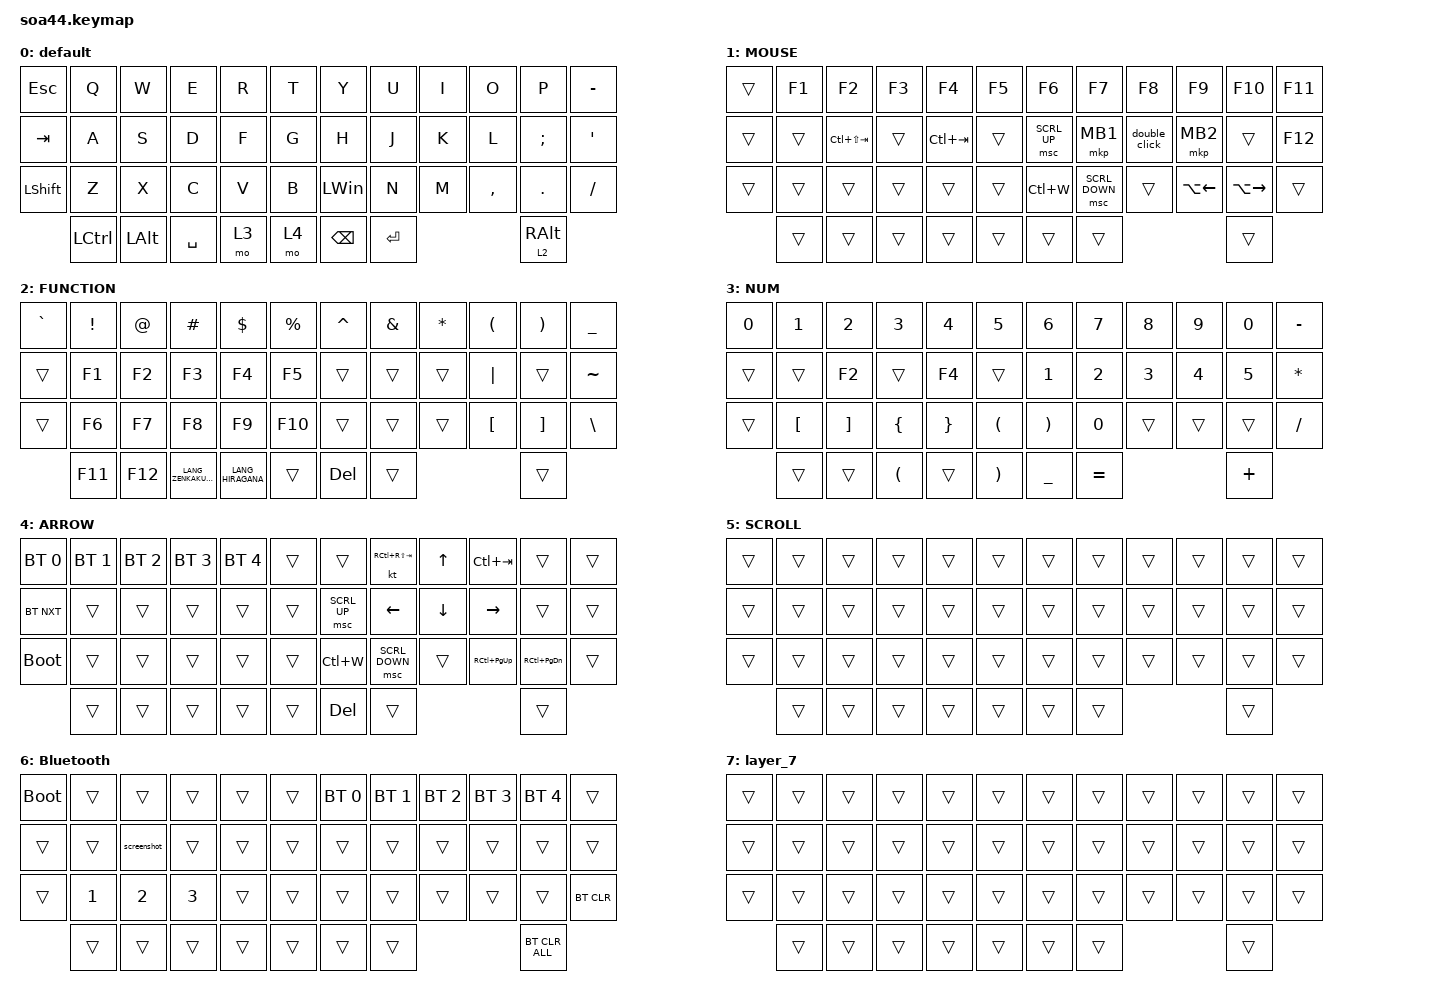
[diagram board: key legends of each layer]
#include <behaviors.dtsi>
#include <dt-bindings/zmk/bt.h>
#include <dt-bindings/zmk/keys.h>
#include <dt-bindings/zmk/pointing.h>

&mt {
    flavor = "balanced";
    quick-tap-ms = <0>;
};

/ {
    combos {
        compatible = "zmk,combos";

        tab {
            bindings = <&kp TAB>;
            key-positions = <11 12>;
        };

        shift_tab {
            bindings = <&kp LS(TAB)>;
            key-positions = <12 13>;
        };

        muhennkann {
            bindings = <&to_layer_0 INT_MUHENKAN>;
            key-positions = <11 10>;
        };

        double_quotation {
            bindings = <&kp DOUBLE_QUOTES>;
            key-positions = <20 21>;
        };

        eq {
            bindings = <&kp EQUAL>;
            key-positions = <24 25>;
        };

        L_parentheses {
            bindings = <&kp LEFT_PARENTHESIS>;
            key-positions = <15 16>;
        };

        R_parentheses {
            bindings = <&kp RIGHT_PARENTHESIS>;
            key-positions = <19 19 20>;
        };

        layer5 {
            bindings = <&mo 5>;
            key-positions = <40 39>;
        };
    };

    macros {
        to_layer_0: to_layer_0 {
            compatible = "zmk,behavior-macro-one-param";
            #binding-cells = <1>;
            bindings = <&to 0 &macro_param_1to1 &kp MACRO_PLACEHOLDER>;
            label = "TO_LAYER_0";
        };

        double_0: double_0 {
            compatible = "zmk,behavior-macro";
            #binding-cells = <0>;
            bindings = <&kp KP_NUMBER_0 &kp KP_NUMBER_0>;
            label = "DOUBLE_0";
        };

        screenshot: screenshot {
            compatible = "zmk,behavior-macro";
            #binding-cells = <0>;
            bindings = <&kp LS(LG(S))>;
            label = "SCREENSHOT";
        };

        double_click: double_click {
            compatible = "zmk,behavior-macro";
            #binding-cells = <0>;
            bindings = <&mkp MB1 &mkp MB1>;
            label = "DOUBLE_CLICK";
        };
    };

    behaviors {
        lt_to_layer_0: lt_to_layer_0 {
            compatible = "zmk,behavior-hold-tap";
            label = "LAYER_TAP_TO_0";
            bindings = <&mo>, <&to_layer_0>;

            #binding-cells = <2>;
            tapping-term-ms = <200>;
        };

        ALTandKANA: ALTandKANA {
            compatible = "zmk,behavior-tap-dance";
            label = "ALTANDKANA";
            #binding-cells = <0>;
            bindings = <&kp RIGHT_ALT>, <&kp LANG_HIRAGANA>;
        };
    };

    keymap {
        compatible = "zmk,keymap";

        default {
            bindings = <
&kp ESCAPE      &kp Q             &kp W         &kp E      &kp R  &kp T  &kp Y          &kp U      &kp I  &kp O      &kp P            &kp MINUS
&kp TAB         &kp A             &kp S         &kp D      &kp F  &kp G  &kp H          &kp J      &kp K  &kp L      &kp SEMICOLON    &kp SQT
&kp LEFT_SHIFT  &kp Z             &kp X         &kp C      &kp V  &kp B  &kp LEFT_WIN   &kp N      &kp M  &kp COMMA  &kp DOT          &kp SLASH
                &kp LEFT_CONTROL  &kp LEFT_ALT  &kp SPACE  &mo 3  &mo 4  &kp BACKSPACE  &kp ENTER                    &lt 2 RIGHT_ALT
            >;
        };

        MOUSE {
            bindings = <
&trans  &kp F1  &kp F2           &kp F3  &kp F4       &kp F5  &kp F6        &kp F7          &kp F8         &kp F9              &kp F10              &kp F11
&trans  &trans  &kp LC(LS(TAB))  &trans  &kp LC(TAB)  &trans  &msc SCRL_UP  &mkp MB1        &double_click  &mkp MB2            &trans               &kp F12
&trans  &trans  &trans           &trans  &trans       &trans  &kp LC(W)     &msc SCRL_DOWN  &trans         &kp LA(LEFT_ARROW)  &kp LA(RIGHT_ARROW)  &trans
        &trans  &trans           &trans  &trans       &trans  &trans        &trans                                             &trans
            >;
        };

        FUNCTION {
            bindings = <
&kp GRAVE  &kp EXCLAMATION  &kp AT_SIGN  &kp HASH                 &kp DOLLAR         &kp PERCENT  &kp CARET   &kp AMPERSAND  &kp ASTERISK  &kp LEFT_PARENTHESIS  &kp RIGHT_PARENTHESIS  &kp UNDERSCORE
&trans     &kp F1           &kp F2       &kp F3                   &kp F4             &kp F5       &trans      &trans         &trans        &kp PIPE              &trans                 &kp TILDE
&trans     &kp F6           &kp F7       &kp F8                   &kp F9             &kp F10      &trans      &trans         &trans        &kp LEFT_BRACKET      &kp RIGHT_BRACKET      &kp BACKSLASH
           &kp F11          &kp F12      &kp LANG_ZENKAKUHANKAKU  &kp LANG_HIRAGANA  &trans       &kp DELETE  &trans                                             &trans
            >;
        };

        NUM {
            bindings = <
&kp NUMBER_0  &kp NUMBER_1      &kp NUMBER_2       &kp NUMBER_3          &kp NUMBER_4     &kp NUMBER_5           &kp NUMBER_6           &kp N7        &kp NUMBER_8  &kp NUMBER_9  &kp NUMBER_0  &kp MINUS
&trans        &trans            &kp F2             &trans                &kp F4           &trans                 &kp NUMBER_1           &kp NUMBER_2  &kp NUMBER_3  &kp NUMBER_4  &kp NUMBER_5  &kp ASTERISK
&trans        &kp LEFT_BRACKET  &kp RIGHT_BRACKET  &kp LEFT_BRACE        &kp RIGHT_BRACE  &kp LEFT_PARENTHESIS   &kp RIGHT_PARENTHESIS  &kp NUMBER_0  &trans        &trans        &trans        &kp SLASH
              &trans            &trans             &kp LEFT_PARENTHESIS  &trans           &kp RIGHT_PARENTHESIS  &kp UNDER              &kp EQUAL                                 &kp PLUS
            >;
        };

        ARROW {
            bindings = <
&bt BT_SEL 0  &bt BT_SEL 1  &bt BT_SEL 2  &bt BT_SEL 3  &bt BT_SEL 4  &trans  &trans        &kt RC(RS(TAB))  &kp UP_ARROW    &kp LC(TAB)      &trans             &trans
&bt BT_NXT    &trans        &trans        &trans        &trans        &trans  &msc SCRL_UP  &kp LEFT_ARROW   &kp DOWN_ARROW  &kp RIGHT_ARROW  &trans             &trans
&bootloader   &trans        &trans        &trans        &trans        &trans  &kp LC(W)     &msc SCRL_DOWN   &trans          &kp RC(PAGE_UP)  &kp RC(PAGE_DOWN)  &trans
              &trans        &trans        &trans        &trans        &trans  &kp DEL       &trans                                            &trans
            >;
        };

        SCROLL {
            bindings = <
&trans  &trans  &trans  &trans  &trans  &trans  &trans  &trans  &trans  &trans  &trans  &trans
&trans  &trans  &trans  &trans  &trans  &trans  &trans  &trans  &trans  &trans  &trans  &trans
&trans  &trans  &trans  &trans  &trans  &trans  &trans  &trans  &trans  &trans  &trans  &trans
        &trans  &trans  &trans  &trans  &trans  &trans  &trans                  &trans
            >;
        };

        Bluetooth {
            bindings = <
&bootloader  &trans        &trans        &trans        &trans  &trans  &bt BT_SEL 0  &bt BT_SEL 1  &bt BT_SEL 2  &bt BT_SEL 3  &bt BT_SEL 4    &trans
&trans       &trans        &screenshot   &trans        &trans  &trans  &trans        &trans        &trans        &trans        &trans          &trans
&trans       &kp NUMBER_1  &kp NUMBER_2  &kp NUMBER_3  &trans  &trans  &trans        &trans        &trans        &trans        &trans          &bt BT_CLR
             &trans        &trans        &trans        &trans  &trans  &trans        &trans                                    &bt BT_CLR_ALL
            >;
        };

        layer_7 {
            bindings = <
&trans  &trans  &trans  &trans  &trans  &trans  &trans  &trans  &trans  &trans  &trans  &trans
&trans  &trans  &trans  &trans  &trans  &trans  &trans  &trans  &trans  &trans  &trans  &trans
&trans  &trans  &trans  &trans  &trans  &trans  &trans  &trans  &trans  &trans  &trans  &trans
        &trans  &trans  &trans  &trans  &trans  &trans  &trans                  &trans
            >;
        };
    };
};
